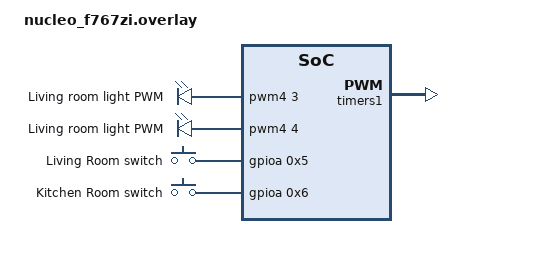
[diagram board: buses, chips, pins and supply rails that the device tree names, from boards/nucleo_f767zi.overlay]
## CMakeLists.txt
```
cmake_minimum_required(VERSION 3.20.0)
find_package(Zephyr REQUIRED HINTS $ENV{ZEPHYR_BASE})
project(my_first)

target_sources(app PRIVATE
    src/main.c
    src/Room.c
)

target_include_directories(app PRIVATE
    ${CMAKE_CURRENT_SOURCE_DIR}/include
)
```

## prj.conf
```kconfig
CONFIG_GPIO=y
CONFIG_PWM=y
CONFIG_PWM_STM32=y
CONFIG_PRINTK=y
CONFIG_HEAP_MEM_POOL_SIZE=256
CONFIG_CPP=y
```

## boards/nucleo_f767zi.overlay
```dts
/ {
    aliases {
        pwmlivingroom = &pwm_0;
        pwmkitchen = &pwm_1;
        switchlivingroom = &switch_livingroom;
        switchkitchen = &switch_kitchen;
    };

    pwmleds {
        compatible = "pwm-leds";

        pwm_0: pwm_0 {
            pwms = <&pwm4 3 PWM_MSEC(20) PWM_POLARITY_NORMAL>;
            label = "Living room light PWM";
        };
        pwm_1: pwm_1 {
            pwms = <&pwm4 4 PWM_MSEC(20) PWM_POLARITY_NORMAL>;
            label = "Living room light PWM";
        };
    };

    buttons {
        compatible = "gpio-keys";

        switch_livingroom: btn_livingroom {
            label = "Living Room switch";
			gpios = < &gpioa 0x5 GPIO_ACTIVE_HIGH >;
            status = "okay";
        };

        switch_kitchen: btn_kitchen {
            label = "Kitchen Room switch";
			gpios = < &gpioa 0x6 GPIO_ACTIVE_HIGH >;
            status = "okay";
        };
    };
    
};

&timers1 {
    status = "okay";
    st,prescaler = <0>;

    pwm4: pwm {
        compatible = "st,stm32-pwm";
        status = "okay";
        #pwm-cells = <3>; 
        pinctrl-0 = <&pwm4_ch3 &pwm4_ch4>;
        pinctrl-names = "default";
    };
};

&pinctrl {
    pwm4_ch3: pwm4_ch3 {
        pinmux = <STM32_PINMUX('B', 8, AF1)>;
    };
    pwm4_ch4: pwm4_ch4 {
        pinmux = <STM32_PINMUX('B', 9, AF1)>;
    };
};
```

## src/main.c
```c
#include <zephyr/kernel.h>
#include <zephyr/device.h>
#include <zephyr/drivers/gpio.h>
#include <zephyr/drivers/pwm.h>
#include <stddef.h>
#include <string.h>

#include "Room.h"

#define SLEEP_TIME_MS 200
#define STACKSIZE 1024
#define PRIORITY 7

void log_msg(const char* fmt, ...) {
    va_list args;
    va_start(args, fmt);
    vprintk(fmt, args);
    va_end(args);
}

void listening_events_thread(void) {

    struct Room **rooms = get_all_rooms();

    while (1) {
        int percentage_ = 50;

        for (int i = 0; i < STRUCT_ROOM_COUNT; i++) {

            bool new_state = gpio_pin_get_dt(rooms[i]->light_switch);

            struct Event *new_event = k_malloc(sizeof(struct Event));
            if (!new_event) {
                printk("Unable to allocate memory for event\n");
                return;
            }

            /* Register light events */
            if (rooms[i]->light_gpio != NULL) {
                new_event->action = gpio_event_action;
                new_event->ctx = (void *)rooms[i]->light_gpio;
                new_event->value = new_state;
            }
            if (rooms[i]->light_pwm != NULL) {
                // PWM light needs special value so I calculated it here
                new_state = rooms[i]->light_pwm->period * percentage_ / 100;
                new_event->action = pwm_event_action;
                new_event->ctx = (void *)rooms[i]->light_pwm;
                new_event->value = new_state;
            }

            // TODO register heat events

            k_fifo_put(&events_fifo, new_event);
        }

        k_msleep(SLEEP_TIME_MS);
    }
}

void execut_events_thread(void) {
    while (1) {
        struct Event *registered_event = k_fifo_get(&events_fifo,
							   K_FOREVER);
        registered_event->action(
            registered_event->ctx,
            registered_event->value
        );

        k_free(registered_event);

        k_msleep(SLEEP_TIME_MS);
    }
}

int main(void)
{
    printk("Booting C++ Zephyr LightSwitch app\n");
    if (!room_device_init()) {
        printk("Error while initializing the devices\n");
        return 0;
    }

    int ret = 0;
    while (1) {

        ret = gpio_pin_toggle_dt(get_led_by_id(ROOM_LED_POWER));
        if (ret < 0) {
            return -1;
        }
        k_msleep(SLEEP_TIME_MS);
    }

    return 0;
    
}

// --- Thread definitions ---
K_THREAD_DEFINE(listening_id, STACKSIZE, listening_events_thread, NULL, NULL, NULL,
                PRIORITY, 0, 0);
K_THREAD_DEFINE(execut_id, STACKSIZE, execut_events_thread, NULL, NULL, NULL,
                PRIORITY, 0, 0);
```

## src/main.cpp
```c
#include <zephyr/kernel.h>
#include <zephyr/device.h>
#include <zephyr/drivers/gpio.h>
#include <zephyr/drivers/pwm.h>
#include <string.h>

#define SLEEP_TIME_MS 1000
#define STACKSIZE 1024
#define PRIORITY 7

void log_msg(const char* fmt, ...) {
    va_list args;
    va_start(args, fmt);
    vprintk(fmt, args);
    va_end(args);
}

struct Event {
    void* fifo_reserved;
    bool is_gpio;
    const pwm_dt_spec* pwm_device;
    const gpio_dt_spec* gpio_device;
    uint16_t value;
};

extern "C" K_FIFO_DEFINE(events_fifo);

class PWMLED {
public:
    PWMLED(const pwm_dt_spec* pwm) : pwm_(pwm) {}
    void set(uint16_t value) { pwm_set_dt(pwm_, pwm_->period, value); }
    uint32_t period() const { return pwm_->period; }
private:
    const pwm_dt_spec* pwm_;
};

class GPIOLED {
public:
    GPIOLED(const gpio_dt_spec* gpio) : gpio_(gpio) {}
    void toggle() { gpio_pin_toggle_dt(gpio_); }
    void set(bool state) { gpio_pin_set(gpio_->port, gpio_->pin, state); }
private:
    const gpio_dt_spec* gpio_;
};

class Switch {
public:
    Switch(const gpio_dt_spec* gpio, const pwm_dt_spec* pwm_device = nullptr, const gpio_dt_spec* gpio_led = nullptr, uint16_t percentage = 50)
        : gpio_(gpio), pwm_(pwm_device), gpio_led_(gpio_led), percentage_(percentage), status_(false) {}

    void poll() {
        bool state = gpio_pin_get_dt(gpio_);
        uint32_t val = 0;

        if (pwm_) {
            val = state ? pwm_->period * percentage_ / 100 : 0;
        } else if (gpio_led_) {
            val = state ? 1 : 0;
        }

        if (state != status_) {
            status_ = state;
            Event* ev = (Event*)k_malloc(sizeof(Event));
            if (!ev) return;
            ev->is_gpio = (gpio_led_ != nullptr);
            ev->pwm_device = pwm_;
            ev->gpio_device = gpio_led_;
            ev->value = val;
            log_msg("New event registered\n");
            k_fifo_put(&events_fifo, ev);
        }
    }
    const gpio_dt_spec* getGpio() {
        return gpio_;
    }

private:
    const gpio_dt_spec* gpio_;
    const pwm_dt_spec* pwm_;
    const gpio_dt_spec* gpio_led_;
    uint16_t percentage_;
    bool status_;
};

// --- Hardware definitions ---
static const gpio_dt_spec power_led_spec = GPIO_DT_SPEC_GET(DT_ALIAS(led0), gpios);
static const gpio_dt_spec info_led_spec = GPIO_DT_SPEC_GET(DT_ALIAS(led1), gpios);
static const gpio_dt_spec error_led_spec = GPIO_DT_SPEC_GET(DT_ALIAS(led2), gpios);

static const pwm_dt_spec lr_pwm_spec = PWM_DT_SPEC_GET(DT_ALIAS(pwmlivingroom));
static const pwm_dt_spec kr_pwm_spec = PWM_DT_SPEC_GET(DT_ALIAS(pwmkitchen));

static const gpio_dt_spec lr_switch_gpio = GPIO_DT_SPEC_GET_OR(DT_ALIAS(switchlivingroom), gpios, {0});
static const gpio_dt_spec kr_switch_gpio = GPIO_DT_SPEC_GET_OR(DT_ALIAS(switchkitchen), gpios, {0});

PWMLED lr_pwm(&lr_pwm_spec);
PWMLED kr_pwm(&kr_pwm_spec);

GPIOLED power_led(&power_led_spec);
GPIOLED info_led(&info_led_spec);
GPIOLED error_led(&error_led_spec);

Switch lr_switch(&lr_switch_gpio, &lr_pwm_spec, nullptr);
Switch kr_switch(&kr_switch_gpio, &kr_pwm_spec, nullptr);

extern "C" void listening_thread(void*) {
    Switch *switches[] = { &lr_switch, &kr_switch };

    while (true) {
        printk("listening\n");
        for (auto sw : switches) {
            sw->poll();
        }
        k_msleep(3020);
    }
}

extern "C" void execute_thread(void*) {
    while (true) {
        printk("event\n");
        Event* ev = (Event*)k_fifo_get(&events_fifo, K_FOREVER);
        if (!ev) continue;

        if (!ev->is_gpio && ev->pwm_device) {
            pwm_set_dt(ev->pwm_device, ev->pwm_device->period, ev->value);
        } else if (ev->is_gpio && ev->gpio_device) {
            gpio_pin_set(ev->gpio_device->port, ev->gpio_device->pin, ev->value);
        }

        k_free(ev);
        k_msleep(4330);
    }
}

extern "C" int main() {
    printk("Booting C++ Zephyr LightSwitch app\n");

    const gpio_dt_spec leds[] = { power_led_spec, info_led_spec, error_led_spec };
    for (auto& led : leds) {
        if (!gpio_is_ready_dt(&led)) return 0;
        gpio_pin_configure_dt(&led, GPIO_OUTPUT_ACTIVE);
    }

    for (int i = 0; i < 5; ++i) {
        power_led.toggle();
        k_msleep(500);
    }

    if (!device_is_ready(lr_pwm_spec.dev) || !device_is_ready(kr_pwm_spec.dev)) {
        log_msg("PWM devices not ready\n");
        return 0;
    }

    // Configure switch GPIOs
   Switch *switches[] = { &lr_switch, &kr_switch };
    for (auto sw : switches) {
        if (!gpio_is_ready_dt(sw->getGpio())) return 0;
        gpio_pin_configure_dt(sw->getGpio(), GPIO_INPUT | sw->getGpio()->dt_flags);
    }

    int i = 0;
    while (true) {
        power_led.toggle();
        if (i % 2 == 0) info_led.toggle();
        if (i % 4 == 0) error_led.toggle();
        ++i;
        log_msg("Status led\n");
        k_msleep(SLEEP_TIME_MS);
    }
}

// --- Thread definitions ---
K_THREAD_DEFINE(listening_id, STACKSIZE, listening_thread, nullptr, nullptr, nullptr,
                PRIORITY, 0, 0);
K_THREAD_DEFINE(execut_id, STACKSIZE, execute_thread, nullptr, nullptr, nullptr,
                PRIORITY, 0, 0);
```

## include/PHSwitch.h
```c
#ifndef PHSWITCH_H
#define PHSWITCH_H

#include <zephyr/kernel.h>
#include <zephyr/drivers/gpio.h>
#include <zephyr/drivers/pwm.h>

class PHSwitch {
public:
    PHSwitch(const struct gpio_dt_spec*, const char* name_);

    bool is_pressed();

    const struct gpio_dt_spec* getDevice();

private:
    const struct gpio_dt_spec *device;
    const char* name_;
};

#endif
```

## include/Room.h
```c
#ifndef ROOMS_H
#define ROOMS_H

#include <zephyr/kernel.h>
#include <zephyr/device.h>
#include <zephyr/drivers/gpio.h>
#include <zephyr/drivers/pwm.h>
#include <stddef.h>
#include <string.h>

typedef void (*event_action_t)(void *ctx, uint16_t value);

struct Event {
    void *fifo_reserved;
    event_action_t action;
    void *ctx;
    uint16_t value;
};

struct Room {
    void* fifo_reserved;

    /* Light */
    /* Switch can toggle pwm device or gpio*/
    const struct gpio_dt_spec* light_switch;
    const struct pwm_dt_spec* light_pwm;
    const struct gpio_dt_spec* light_gpio;
    uint16_t light_value;

    /* TODO Heat */
    /* Temperature sensor */
    /* Temperature gpio */
};

void gpio_event_action(void *ctx, uint16_t value);

void pwm_event_action(void *ctx, uint16_t value);

#endif
```

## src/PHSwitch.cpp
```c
#include "PHSwitch.h"

PHSwitch::PHSwitch(const struct gpio_dt_spec* gpio_dt_spec, const char* name_) {
    this->device = gpio_dt_spec;
    this->name_ = name_;

    if (!gpio_is_ready_dt(device)) {
        printk("The %s switch pin GPIO port is not ready.\n", this->name_);
        return;
    }
    int ret = gpio_pin_configure_dt(device, GPIO_OUTPUT | device->dt_flags);
    if (ret != 0) {
        printk("Configuring %s GPIO pin failed: %d\n", this->name_, ret);
        return;
    }
}

bool PHSwitch::is_pressed() {
    return gpio_pin_get_dt(device);
}

const struct gpio_dt_spec* PHSwitch::getDevice() {
    return device;
}
```

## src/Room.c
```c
#include "Room.h"

void gpio_event_action(void *ctx, uint16_t value)
{
    const struct gpio_dt_spec *gpio = ctx;
    gpio_pin_set(gpio->port, gpio->pin, value);
}

void pwm_event_action(void *ctx, uint16_t value)
{
    const struct pwm_dt_spec *pwm = ctx;
    pwm_set_dt(pwm, pwm->period, value);
}
```
